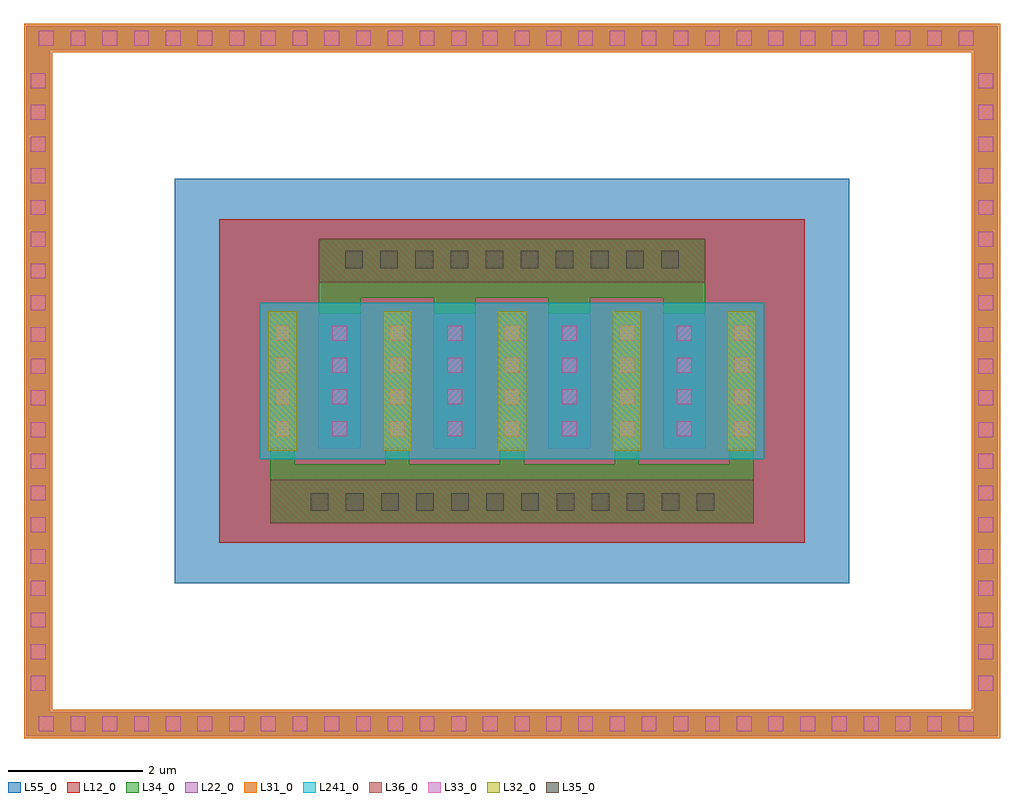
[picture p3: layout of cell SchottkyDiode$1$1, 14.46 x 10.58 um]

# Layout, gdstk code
import gdstk
lib = gdstk.Library(unit=1e-6, precision=1e-09)
def R(c, l, rs):  # rectangles x0, y0, x1, y1
    for r in rs: c.add(gdstk.rectangle(r[:2], r[2:], *l))
def A(c, l, x, y, w, h, nx, ny, dx, dy):  # array of equal rectangles
    R(c, l, [(x+i*dx, y+j*dy, x+i*dx+w, y+j*dy+h) for i in range(nx) for j in range(ny)])
def P(c, l, *ps):  # polygons
    for p in ps: c.add(gdstk.Polygon(p, *l))
L12_0 = (12, 0)
L22_0 = (22, 0)
L31_0 = (31, 0)
L32_0 = (32, 0)
L33_0 = (33, 0)
L34_0 = (34, 0)
L35_0 = (35, 0)
L36_0 = (36, 0)
L55_0 = (55, 0)
L241_0 = (241, 0)

schottkydiode_1_1 = lib.new_cell('SchottkyDiode$1$1')
R(schottkydiode_1_1, L12_0, [(2.89,5.06,11.57,9.86)])
A(schottkydiode_1_1, L22_0, 3.65, 6.46, 0.36, 2, 5, 1, 1.7, 0)
A(schottkydiode_1_1, L22_0, 4.37, 6.46, 0.62, 2, 4, 1, 1.7, 0)
P(schottkydiode_1_1, L22_0, [(0.03,2.2),(0.03,12.36),(0.39,12.36),(0.39,2.56),(14.07,2.56),(14.07,12.36),(0.03,12.36),(0.03,12.72),(14.43,12.72),(14.43,2.2)])
P(schottkydiode_1_1, L31_0, [(0,2.17),(0,12.33),(0.42,12.33),(0.42,2.59),(14.04,2.59),(14.04,12.33),(0,12.33),(0,12.75),(14.46,12.75),(14.46,2.17)])
A(schottkydiode_1_1, L32_0, 3.62, 6.43, 0.42, 2.06, 5, 1, 1.7, 0)
A(schottkydiode_1_1, L33_0, 0.22, 2.27, 0.22, 0.22, 30, 2, 0.47, 10.16)
A(schottkydiode_1_1, L33_0, 0.1, 2.87, 0.22, 0.22, 1, 20, 0, 0.47)
A(schottkydiode_1_1, L33_0, 14.14, 2.87, 0.22, 0.22, 1, 20, 0, 0.47)
A(schottkydiode_1_1, L33_0, 3.72, 6.645, 0.22, 0.22, 9, 4, 0.85, 0.47)
A(schottkydiode_1_1, L34_0, 3.65, 6.23, 0.36, 2.23, 5, 1, 1.7, 0)
A(schottkydiode_1_1, L34_0, 4.37, 6.46, 0.62, 2.23, 4, 1, 1.7, 0)
R(schottkydiode_1_1, L34_0, [(3.65,5.35,10.81,6), (3.65,6,10.81,6.23), (4.37,8.69,10.09,8.92), (4.37,8.92,10.09,9.57)])
P(schottkydiode_1_1, L34_0, [(0.03,2.2),(0.03,12.72),(0.39,12.72),(0.39,2.56),(14.07,2.56),(14.07,12.36),(0.39,12.36),(0.39,12.72),(14.43,12.72),(14.43,2.2)])
A(schottkydiode_1_1, L35_0, 4.25, 5.54, 0.26, 0.26, 12, 1, 0.52, 0)
A(schottkydiode_1_1, L35_0, 4.76, 9.13, 0.26, 0.26, 10, 1, 0.52, 0)
R(schottkydiode_1_1, L36_0, [(3.65,5.35,10.81,6), (4.37,8.92,10.09,9.57)])
R(schottkydiode_1_1, L55_0, [(2.23,4.46,12.23,10.46)])
R(schottkydiode_1_1, L241_0, [(3.49,6.3,10.97,8.62)])

lib.write_gds('SchottkyDiode_1_1.gds')
